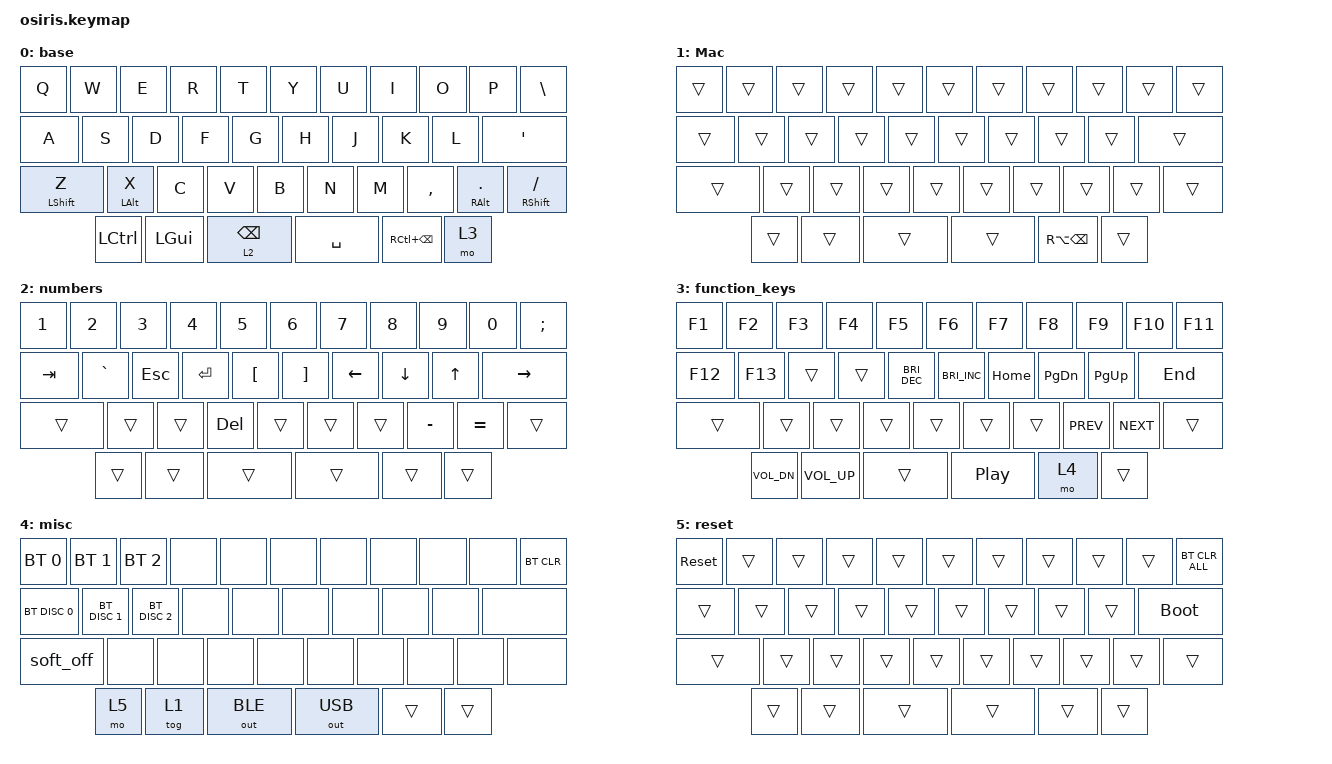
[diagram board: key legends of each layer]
#include <behaviors.dtsi>
#include <dt-bindings/zmk/bt.h>
#include <dt-bindings/zmk/keys.h>
#include <dt-bindings/zmk/outputs.h>

/ {
    wakeup_scan: wakeup_scan {
        compatible = "zmk,kscan-gpio-matrix";
        diode-direction = "col2row";
        row-gpios = <&gpio1 6 (GPIO_ACTIVE_HIGH | GPIO_PULL_DOWN)>;
        col-gpios = <&gpio0 18 GPIO_ACTIVE_HIGH>;
    };

    // 2. Register this single-key layout as the hardware wakeup mechanism
    soft_off_direct_wakeup {
        compatible = "zmk,soft-off-wakeup-sources";
        wakeup-sources = <&wakeup_scan>;
    };
};

&lt {
    flavor = "hold-preferred";
    tapping-term-ms = <150>;
};

/ {
    behaviors {
        hm: homerow_mods {
            compatible = "zmk,behavior-hold-tap";
            display-name = "Homerow Mods";
            bindings = <&kp>, <&kp>;

            #binding-cells = <2>;
            tapping-term-ms = <200>;
            quick-tap-ms = <180>;
            require-prior-idle-ms = <80>;
            flavor = "tap-preferred";
        };

        soft_off_hold: soft_off_hold {
            compatible = "zmk,behavior-soft-off";
            label = "SOFT_OFF_HOLD";
            #binding-cells = <0>;
            hold-time-ms = <3000>;
        };
    };

    combos {
        compatible = "zmk,combos";

        Dash {
            bindings = <&kp MINUS>;
            key-positions = <29 28>;
            layers = <0 2 1>;
            require-prior-idle-ms = <80>;
        };

        Underscore {
            bindings = <&kp UNDERSCORE>;
            key-positions = <28 29 30>;
            require-prior-idle-ms = <80>;
            layers = <0 2 1>;
        };

        Plus {
            bindings = <&kp KP_PLUS>;
            key-positions = <28 30>;
            require-prior-idle-ms = <80>;
            layers = <0 2>;
        };

        Equals {
            bindings = <&kp KP_EQUAL>;
            key-positions = <29 30>;
            require-prior-idle-ms = <80>;
            layers = <0 2 1>;
        };

        Semicolon {
            bindings = <&kp SEMICOLON>;
            key-positions = <20 28>;
            require-prior-idle-ms = <80>;
            layers = <0 2 1>;
        };

        Colon {
            bindings = <&kp COLON>;
            key-positions = <20 29>;
            require-prior-idle-ms = <80>;
            layers = <0 2 1>;
        };

        DelBT {
            bindings = <&bt BT_CLR_ALL>;
            key-positions = <10 9>;
            require-prior-idle-ms = <300>;
            layers = <4>;
        };
    };

    keymap {
        compatible = "zmk,keymap";

        base {
            bindings = <
&kp Q             &kp W           &kp E            &kp R      &kp T              &kp Y  &kp U  &kp I      &kp O                 &kp P                  &kp BACKSLASH
&kp A             &kp S           &kp D            &kp F      &kp G              &kp H  &kp J  &kp K      &kp L                 &kp SINGLE_QUOTE
&mt LEFT_SHIFT Z  &hm LEFT_ALT X  &kp C            &kp V      &kp B              &kp N  &kp M  &kp COMMA  &hm RIGHT_ALT PERIOD  &mt RIGHT_SHIFT SLASH
&kp LEFT_CONTROL  &kp LEFT_GUI    &lt 2 BACKSPACE  &kp SPACE  &kp RC(BACKSPACE)  &mo 3
            >;
        };

        Mac {
            bindings = <
&trans  &trans  &trans  &trans  &trans             &trans  &trans  &trans  &trans  &trans  &trans
&trans  &trans  &trans  &trans  &trans             &trans  &trans  &trans  &trans  &trans
&trans  &trans  &trans  &trans  &trans             &trans  &trans  &trans  &trans  &trans
&trans  &trans  &trans  &trans  &kp RA(BACKSPACE)  &trans
            >;
        };

        numbers {
            bindings = <
&kp N1   &kp N2     &kp N3      &kp N4      &kp N5            &kp N6             &kp N7          &kp N8          &kp N9        &kp N0           &kp SEMICOLON
&kp TAB  &kp GRAVE  &kp ESCAPE  &kp RETURN  &kp LEFT_BRACKET  &kp RIGHT_BRACKET  &kp LEFT_ARROW  &kp DOWN_ARROW  &kp UP_ARROW  &kp RIGHT_ARROW
&trans   &trans     &trans      &kp DELETE  &trans            &trans             &trans          &kp MINUS       &kp EQUAL     &trans
&trans   &trans     &trans      &trans      &trans            &trans
            >;
        };

        function_keys {
            bindings = <
&kp F1        &kp F2        &kp F3  &kp F4            &kp F5                &kp F6                &kp F7    &kp F8         &kp F9      &kp F10  &kp F11
&kp F12       &kp F13       &trans  &trans            &kp C_BRIGHTNESS_DEC  &kp C_BRIGHTNESS_INC  &kp HOME  &kp PAGE_DOWN  &kp PG_UP   &kp END
&trans        &trans        &trans  &trans            &trans                &trans                &trans    &kp C_PREV     &kp C_NEXT  &trans
&kp C_VOL_DN  &kp C_VOL_UP  &trans  &kp C_PLAY_PAUSE  &mo 4                 &trans
            >;
        };

        misc {
            bindings = <
&bt BT_SEL 0    &bt BT_SEL 1   &bt BT_SEL 2   &none         &none   &none   &none  &none  &none  &none  &bt BT_CLR
&bt BT_DISC 0   &bt BT_DISC 1  &bt BT_DISC 2  &none         &none   &none   &none  &none  &none  &none
&soft_off       &none          &none          &none         &none   &none   &none  &none  &none  &none
&mo 5           &tog 1         &out OUT_BLE   &out OUT_USB  &trans  &trans
            >;
        };

        reset {
            bindings = <
&sys_reset  &trans  &trans  &trans  &trans  &trans  &trans  &trans  &trans  &trans       &bt BT_CLR_ALL
&trans      &trans  &trans  &trans  &trans  &trans  &trans  &trans  &trans  &bootloader
&trans      &trans  &trans  &trans  &trans  &trans  &trans  &trans  &trans  &trans
&trans      &trans  &trans  &trans  &trans  &trans
            >;
        };
    };
};
